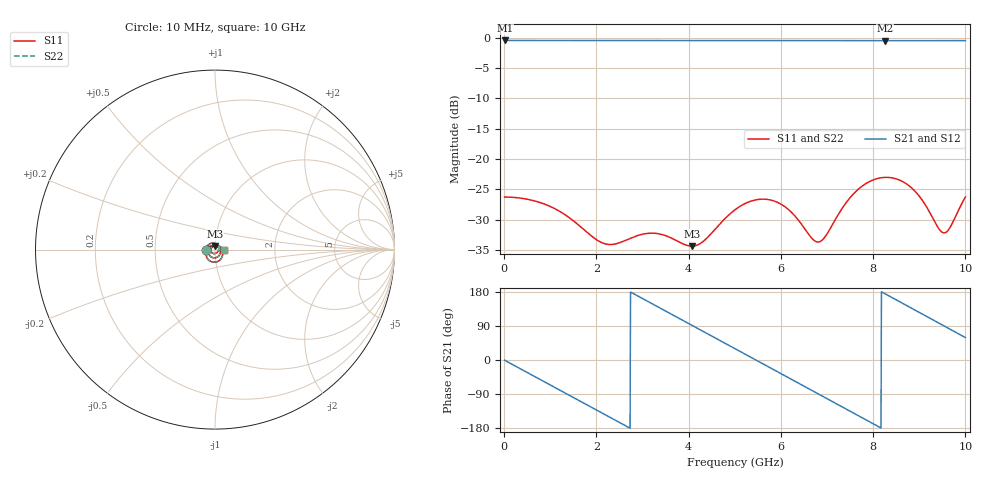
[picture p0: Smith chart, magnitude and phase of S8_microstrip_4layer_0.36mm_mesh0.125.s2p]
! kicad_em_sim: S-parameters of 2 ports, openEMS
# Hz S RI R 50
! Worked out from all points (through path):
!   1000 points, 10 MHz to 10 GHz, reference 50 ohm
!   highest |S21| = -0.44 dB at 20 MHz (marker M1); lowest = -0.5 dB at 8.26 GHz (marker M2)
!   group delay of S21, straight-line fit = 183 ps
!   lowest |S11| = -34.4 dB at 4.07 GHz (marker M3), VSWR 1.04, Z = 49.9 + j1.91 ohm
!   |S11| at or under -10 dB: start of sweep to end of sweep
!   |S22| runs from -34.4 to -23.0 dB; largest |S21 - S12| = 5.8e-07
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1e7  -0.0485 0.000477  0.9505 -0.0109  0.9505 -0.0109  -0.0485 0.000477
2e7  -0.0485 0.000954  0.9503 -0.0219  0.9503 -0.0219  -0.0485 0.000954
4.6e8  -0.042 0.0208  0.8204 -0.48  0.8204 -0.48  -0.042 0.0208
9.4e8  -0.0227 0.0348  0.4464 -0.839  0.4464 -0.839  -0.0227 0.0348
1.68e9  0.0141 0.0232  -0.337 -0.8881  -0.337 -0.8881  0.0141 0.0232
2.54e9  0.00881 -0.0187  -0.9263 -0.2061  -0.9263 -0.2061  0.00881 -0.0187
2.93e9  -0.01 -0.0214  -0.9239 0.2159  -0.9239 0.2159  -0.01 -0.0214
3.34e9  -0.0231 -0.00733  -0.7251 0.6123  -0.7251 0.6123  -0.0231 -0.00733
4.07e9  -0.000587 0.0191  -0.0271 0.9491  -0.0271 0.9491  -0.000587 0.0191
4.52e9  0.0243 0.0059  0.447 0.8373  0.447 0.8373  0.0243 0.0059
5.01e9  0.0263 -0.0277  0.8251 0.4676  0.8251 0.4676  0.0263 -0.0277
5.78e9  -0.0233 -0.0395  0.8833 -0.3438  0.8833 -0.3438  -0.0233 -0.0395
6.67e9  -0.0125 0.0184  0.1628 -0.9347  0.1628 -0.9347  -0.0125 0.0184
6.91e9  0.00879 0.0198  -0.0995 -0.9435  -0.0995 -0.9435  0.00879 0.0198
7.36e9  0.0401 -0.00775  -0.555 -0.7685  -0.555 -0.7685  0.0401 -0.00775
7.83e9  0.0319 -0.0534  -0.871 -0.3709  -0.871 -0.3709  0.0319 -0.0534
8.26e9  -0.00885 -0.07  -0.942 0.0881  -0.942 0.0881  -0.00885 -0.07
8.34e9  -0.0173 -0.0683  -0.9299 0.1745  -0.9299 0.1745  -0.0173 -0.0683
8.76e9  -0.0482 -0.0372  -0.7421 0.5882  -0.7421 0.5882  -0.0482 -0.0372
9.23e9  -0.0342 0.0114  -0.3308 0.8887  -0.3308 0.8887  -0.0342 0.0114
9.57e9  0.0036 0.0245  0.0364 0.9479  0.0364 0.9479  0.0036 0.0245
1e10  0.0485 -0.00386  0.4855 0.8136  0.4855 0.8136  0.0485 -0.00386
